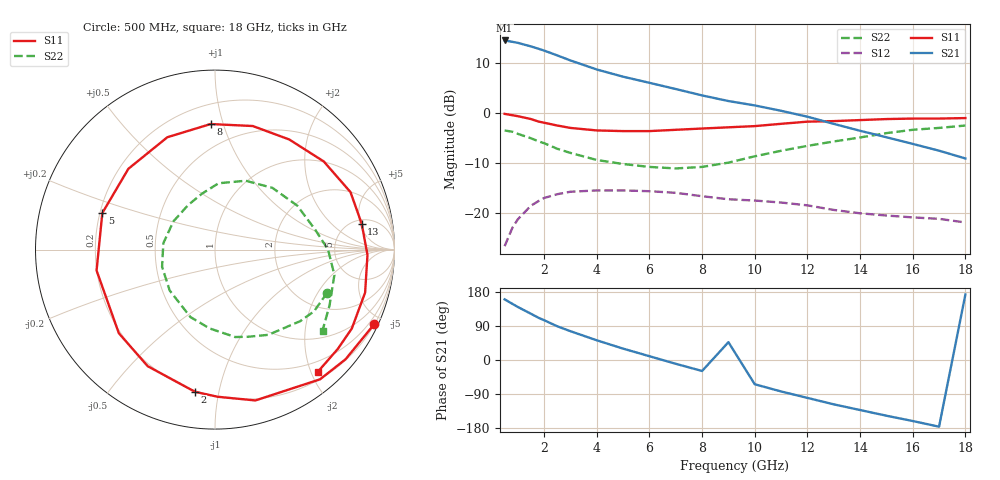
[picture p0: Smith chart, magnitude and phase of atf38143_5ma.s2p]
!ATF-38143
!S-PARAMETERS at Vds=2V  Id=5mA.  LAST UPDATED 20-10-99
# ghz s ma r 50
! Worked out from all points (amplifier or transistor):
!   23 points, 500 MHz to 18 GHz, reference 50 ohm
!   highest |S21| = 14.5 dB at 500 MHz (marker M1)
!   |S21| within 3 dB of that: start of sweep to 2.508 GHz
!   unconditionally stable (mu >= 1): 7.778 GHz to end of sweep
!   at 1.5 GHz: K = 0.21, MSG = 15.9 dB, |S12| = -18.5 dB
!   at 7 GHz: K = 0.88, MSG = 10.3 dB, |S12| = -15.9 dB
!   at 18 GHz: K = 1.83, MAG = 1.1 dB, |S12| = -21.8 dB
!   lowest NFmin = 0.18 dB at 500 MHz
!   S11 on the Smith chart (normalised r, x): 500 MHz: 0.22, -4.50; 2 GHz: 0.19, -0.85; 5 GHz: 0.21, +0.15; 8 GHz: 0.33, +0.91; 13 GHz: 5.75, +5.33; 18 GHz: 0.32, -2.10
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0.5  0.98 -25.0  5.289 160.0  0.047 73.0  0.67 -21.0
0.8  0.95 -40.0  5.122 148.0  0.072 63.0  0.65 -32.0
1  0.93 -51.0  5.01 140.0  0.087 56.0  0.62 -40.0
1.5  0.87 -75.0  4.613 122.0  0.119 41.0  0.56 -58.0
1.8  0.82 -89.0  4.362 111.0  0.133 33.0  0.52 -69.0
2  0.8 -98.0  4.192 105.0  0.142 28.0  0.5 -77.0
2.5  0.75 -120.0  3.751 89.0  0.155 16.0  0.44 -94.0
3  0.71 -139.0  3.342 76.0  0.164 5.0  0.4 -110.0
4  0.67 -170.0  2.716 52.0  0.169 -12.0  0.34 -138.0
5  0.66 162.0  2.302 30.0  0.169 -27.0  0.31 -162.0
6  0.66 137.0  2 10.0  0.166 -41.0  0.29 173.0
7  0.68 113.0  1.734 -10.0  0.16 -55.0  0.28 146.0
8  0.7 92.0  1.498 -29.0  0.148 -67.0  0.29 121.0
9  0.72 73.0  1.316 47.0  0.138 -77.0  0.32 103.0
10  0.74 56.0  1.19 -64.0  0.134 -86.0  0.37 87.0
11  0.78 39.0  1.052 -83.0  0.128 -97.0  0.42 66.0
12  0.82 23.0  0.919 -100.0  0.12 -106.0  0.47 47.0
13  0.83 10.0  0.779 -117.0  0.108 -115.0  0.52 28.0
15  0.87 -16.0  0.573 -147.0  0.095 -129.0  0.63 0.0
16  0.88 -30.0  0.492 -161.0  0.091 -136.0  0.68 -12.0
17  0.88 -39.0  0.421 -176.0  0.088 -145.0  0.71 -26.0
18  0.89 -50.0  0.352 173.0  0.081 -151.0  0.75 -37.0
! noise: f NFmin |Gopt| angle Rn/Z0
0.5  0.18  0.69  14  0.25
0.9  0.21  0.69  26  0.23
1.5  0.26  0.68  44  0.2
2  0.32  0.65  61  0.17
3  0.48  0.59  98  0.11
4  0.6  0.5  127  0.08
5.5  0.77  0.5  171  0.04
6  0.84  0.51  -169  0.04
8  1.12  0.54  -111  0.2
10  1.38  0.62  -68  0.6
